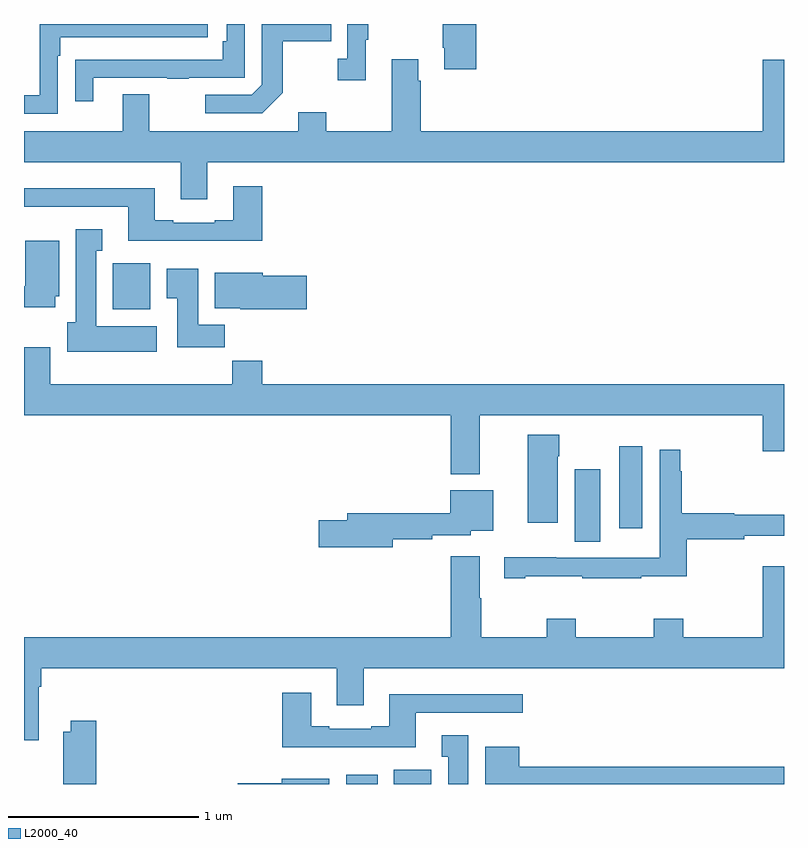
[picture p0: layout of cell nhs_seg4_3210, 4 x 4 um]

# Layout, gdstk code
import gdstk
lib = gdstk.Library(unit=1e-6, precision=1e-09)
def R(c, l, rs):  # rectangles x0, y0, x1, y1
    for r in rs: c.add(gdstk.rectangle(r[:2], r[2:], *l))
def P(c, l, *ps):  # polygons
    for p in ps: c.add(gdstk.Polygon(p, *l))
L2000_40 = (2000, 40)

nhs_seg4_3210 = lib.new_cell('nhs_seg4_3210')
R(nhs_seg4_3210, L2000_40, [(282.695,774.9,282.862,774.949), (282.947,774.9,283.144,774.976), (283.898,776.176,284.032,776.557), (284.132,776.247,284.254,776.677), (281.468,777.398,281.665,777.64)])
P(nhs_seg4_3210, L2000_40, [(281.365,778.617),(281.755,778.617),(281.755,778.612),(281.867,778.612),(281.867,778.617),(282.162,778.617),(282.162,778.9),(282.066,778.9),(282.066,778.81),(282.046,778.81),(282.046,778.713),(281.371,778.713),(281.371,778.712),(281.269,778.712),(281.269,778.494),(281.365,778.494)],
  [(282.799,778.817),(282.811,778.817),(282.811,778.9),(282.702,778.9),(282.702,778.718),(282.651,778.718),(282.651,778.605),(282.799,778.605)],
  [(283.379,778.9),(283.204,778.9),(283.204,778.774),(283.211,778.774),(283.211,778.662),(283.379,778.662)],
  [(282.361,778.537),(282.361,778.81),(282.617,778.81),(282.617,778.9),(282.252,778.9),(282.252,778.581),(282.198,778.527),(281.955,778.527),(281.955,778.431),(282.255,778.431)],
  [(281.178,778.733),(281.191,778.733),(281.191,778.83),(281.968,778.83),(281.968,778.9),(281.082,778.9),(281.082,778.524),(281,778.524),(281,778.428),(281.178,778.428)],
  [(281.965,778.172),(285,778.172),(285,778.711),(284.888,778.711),(284.888,778.336),(283.088,778.336),(283.088,778.601),(283.075,778.601),(283.075,778.714),(282.935,778.714),(282.935,778.336),(282.591,778.336),(282.591,778.435),(282.443,778.435),(282.443,778.336),(281.659,778.336),(281.659,778.531),(281.519,778.531),(281.519,778.336),(281,778.336),(281,778.172),(281.825,778.172),(281.825,777.978),(281.965,777.978)],
  [(282.254,778.045),(282.101,778.045),(282.101,777.868),(282.005,777.868),(282.005,777.855),(281.785,777.855),(281.785,777.868),(281.689,777.868),(281.689,778.036),(281,778.036),(281,777.939),(281.549,777.939),(281.549,777.758),(282.254,777.758)],
  [(281.698,777.31),(281.38,777.31),(281.38,777.707),(281.413,777.707),(281.413,777.82),(281.273,777.82),(281.273,777.33),(281.228,777.33),(281.228,777.176),(281.698,777.176)],
  [(281.164,777.468),(281.185,777.468),(281.185,777.76),(281.006,777.76),(281.006,777.52),(281,777.52),(281,777.408),(281.164,777.408)],
  [(282.056,777.316),(281.917,777.316),(281.917,777.613),(281.75,777.613),(281.75,777.457),(281.807,777.457),(281.807,777.198),(282.056,777.198)],
  [(282.487,777.575),(282.256,777.575),(282.256,777.592),(282.005,777.592),(282.005,777.404),(282.138,777.404),(282.138,777.398),(282.487,777.398)],
  [(283.399,776.84),(284.888,776.84),(284.888,776.652),(285,776.652),(285,777.004),(282.254,777.004),(282.254,777.128),(282.097,777.128),(282.097,777.004),(281.137,777.004),(281.137,777.199),(281,777.199),(281,776.84),(283.247,776.84),(283.247,776.531),(283.399,776.531)],
  [(283.81,776.624),(283.818,776.624),(283.818,776.737),(283.652,776.737),(283.652,776.274),(283.81,776.274)],
  [(283.639,775.993),(283.939,775.993),(283.939,775.983),(284.249,775.983),(284.249,775.993),(284.489,775.993),(284.489,776.188),(284.792,776.188),(284.792,776.207),(285,776.207),(285,776.317),(284.739,776.317),(284.739,776.324),(284.462,776.324),(284.462,776.546),(284.455,776.546),(284.455,776.659),(284.346,776.659),(284.346,776.092),(284.136,776.092),(284.136,776.091),(283.802,776.091),(283.802,776.093),(283.527,776.093),(283.527,775.983),(283.639,775.983)],
  [(282.94,776.188),(283.148,776.188),(283.148,776.208),(283.35,776.208),(283.35,776.234),(283.471,776.234),(283.471,776.446),(283.244,776.446),(283.244,776.324),(282.701,776.324),(282.701,776.288),(282.552,776.288),(282.552,776.146),(282.94,776.146)],
  [(281.077,775.412),(281.09,775.412),(281.09,775.508),(282.647,775.508),(282.647,775.314),(282.787,775.314),(282.787,775.508),(285,775.508),(285,776.047),(284.888,776.047),(284.888,775.672),(284.469,775.672),(284.469,775.771),(284.314,775.771),(284.314,775.672),(283.905,775.672),(283.905,775.771),(283.75,775.771),(283.75,775.672),(283.407,775.672),(283.407,775.877),(283.399,775.877),(283.399,776.098),(283.247,776.098),(283.247,775.672),(281,775.672),(281,775.131),(281.077,775.131)],
  [(283.063,775.275),(283.624,775.275),(283.624,775.372),(282.923,775.372),(282.923,775.204),(282.827,775.204),(282.827,775.191),(282.607,775.191),(282.607,775.204),(282.511,775.204),(282.511,775.381),(282.359,775.381),(282.359,775.094),(283.063,775.094)],
  [(281.381,775.234),(281.246,775.234),(281.246,775.174),(281.206,775.174),(281.206,774.9),(281.381,774.9)],
  [(283.339,775.156),(283.199,775.156),(283.199,775.043),(283.232,775.043),(283.232,774.9),(283.339,774.9)],
  [(285,774.992),(283.606,774.992),(283.606,775.096),(283.427,775.096),(283.427,774.9),(285,774.9)],
  [(282.607,774.928),(282.356,774.928),(282.356,774.905),(282.126,774.905),(282.126,774.9),(282.607,774.9)])

lib.write_gds('nhs_seg4_3210.gds')
